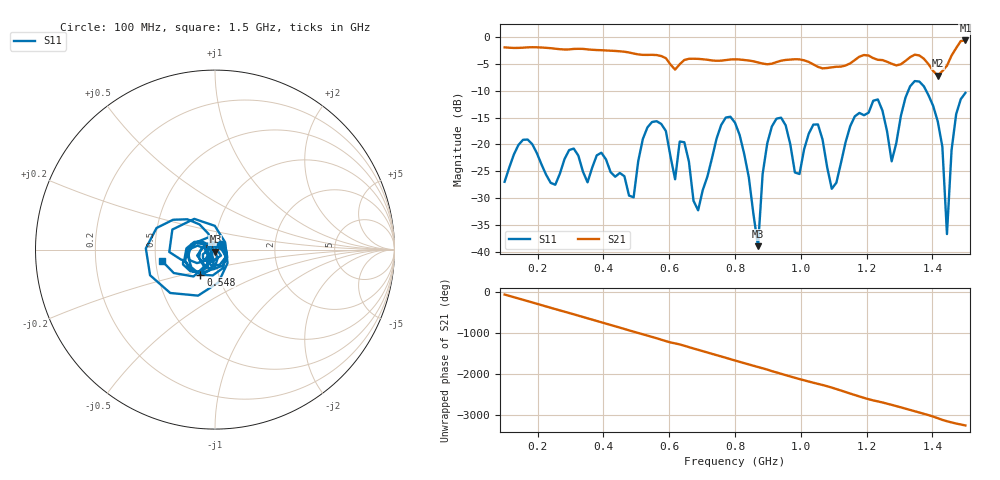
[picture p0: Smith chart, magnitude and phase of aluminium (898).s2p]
! NanoVNA-App
! Date: 2025-09-25 15:02:16
! Start: 100MHz Stop: 1,5GHz Points: 101
! S-Parameter data: F S11 S21 S12 S22
# Hz S RI R 50
!  Frequency  S11_Real  S11_Imag  S21_Real  S21_Imag  S12_Real  S12_Imag  S22_Real  S22_Imag
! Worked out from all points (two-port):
!   101 points, 100 MHz to 1.5 GHz, reference 50 ohm
!   highest |S21| = -0.64 dB at 1.5 GHz (marker M1); lowest = -7.2 dB at 1.416 GHz (marker M2)
!   |S21| within 3 dB of the highest: start of sweep to 579.4 MHz; 1.457 GHz to end of sweep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
!   lowest |S11| = -38.9 dB at 870 MHz (marker M3), VSWR 1.02, Z = 50.2 - j1.11 ohm
!   |S11| at or under -10 dB: start of sweep to 1.327 GHz; 1.381 GHz to end of sweep
!   S12 and S22 are empty: the file has one direction only
!   S11 on the Smith chart (normalised r, x): 100 MHz: 1.07, +0.06; 548 MHz: 0.82, -0.24; 1.5 GHz: 0.54, -0.08
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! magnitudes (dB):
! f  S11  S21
! 100 MHz  -27.0  -1.9
! 156 MHz  -19.1  -2.0
! 338 MHz  -25.1  -2.2
! 492 MHz  -29.8  -3.1
! 548 MHz  -15.8  -3.3
! 576 MHz  -16.2  -3.5
! 618 MHz  -26.5  -6.1
! 646 MHz  -19.6  -4.3
! 688 MHz  -32.3  -4.1
! 800 MHz  -16.0  -4.1
! 870 MHz  -38.9  -4.7
! 912 MHz  -16.7  -5.0
! 996 MHz  -25.5  -4.2
! 1.038 GHz  -16.3  -5.1
! 1.094 GHz  -28.3  -5.7
! 1.22 GHz  -11.9  -3.9
! 1.276 GHz  -23.1  -5.0
! 1.346 GHz  -8.2  -3.3
! 1.416 GHz  -15.7  -7.2
! 1.444 GHz  -36.7  -5.3
! 1.472 GHz  -14.4  -2.1
! 1.5 GHz  -10.4  -0.6
